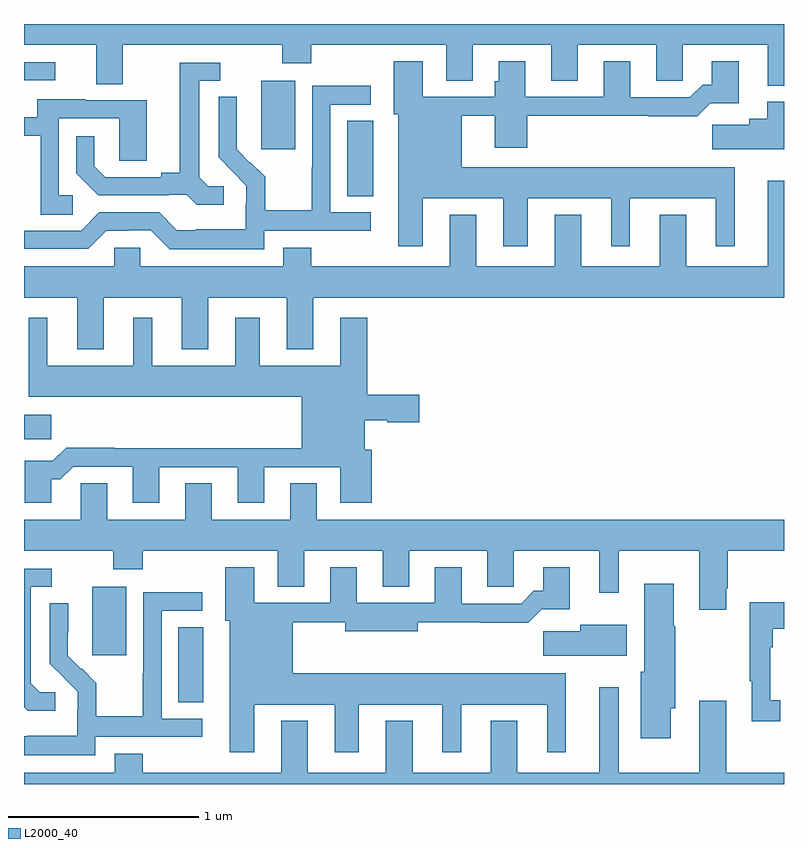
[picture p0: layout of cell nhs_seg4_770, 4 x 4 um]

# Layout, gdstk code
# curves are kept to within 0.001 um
import gdstk
lib = gdstk.Library(unit=1e-6, precision=1e-09)
def R(c, l, rs):  # rectangles x0, y0, x1, y1
    for r in rs: c.add(gdstk.rectangle(r[:2], r[2:], *l))
def P(c, l, *ps):  # polygons
    for p in ps: c.add(gdstk.Polygon(p, *l))
L2000_40 = (2000, 40)

nhs_seg4_770 = lib.new_cell('nhs_seg4_770')
R(nhs_seg4_770, L2000_40, [(149.813,821.329,149.944,821.726), (149.36,821.577,149.539,821.938), (149,822.715,149.143,822.844), (150.701,823.993,150.838,824.39), (150.248,824.241,150.427,824.602), (149,824.604,149.164,824.7)])
P(nhs_seg4_770, L2000_40, [(153,824.9),(149,824.9),(149,824.792),(149.381,824.792),(149.381,824.584),(149.521,824.584),(149.521,824.792),(150.358,824.792),(150.358,824.693),(150.513,824.693),(150.513,824.792),(151.223,824.792),(151.223,824.602),(151.363,824.602),(151.363,824.792),(151.775,824.792),(151.775,824.602),(151.915,824.602),(151.915,824.792),(152.327,824.792),(152.327,824.602),(152.466,824.602),(152.466,824.792),(152.915,824.792),(152.915,824.576),(153,824.576)],
  [(151.099,823.982),(151.523,823.982),(151.523,823.731),(151.651,823.731),(151.651,823.982),(152.09,823.982),(152.09,823.731),(152.188,823.731),(152.188,823.982),(152.642,823.982),(152.642,823.731),(152.74,823.731),(152.74,824.146),(151.303,824.146),(151.303,824.416),(151.478,824.416),(151.478,824.25),(151.649,824.25),(151.649,824.416),(152.287,824.416),(152.287,824.414),(152.543,824.414),(152.612,824.483),(152.761,824.483),(152.761,824.704),(152.621,824.704),(152.621,824.581),(152.572,824.581),(152.505,824.514),(152.191,824.514),(152.191,824.704),(152.051,824.704),(152.051,824.517),(151.639,824.517),(151.639,824.704),(151.499,824.704),(151.499,824.598),(151.478,824.598),(151.478,824.517),(151.099,824.517),(151.099,824.704),(150.947,824.704),(150.947,824.424),(150.971,824.424),(150.971,823.731),(151.099,823.731)],
  [(150.052,824.046),(149.97,824.046),(149.923,824.093),(149.923,824.601),(150.034,824.601),(150.034,824.697),(149.819,824.697),(149.819,824.117),(149.723,824.117),(149.723,824.094),(149.428,824.094),(149.371,824.151),(149.371,824.308),(149.274,824.308),(149.274,824.114),(149.39,823.998),(149.762,823.998),(149.762,824.001),(149.856,824.001),(149.908,823.949),(150.052,823.949)],
  [(150.264,823.812),(150.826,823.812),(150.826,823.908),(150.612,823.908),(150.612,824.475),(150.826,824.475),(150.826,824.574),(150.516,824.574),(150.516,824.144),(150.514,824.144),(150.514,823.921),(150.269,823.921),(150.269,824.095),(150.192,824.172),(150.189,824.169),(150.119,824.24),(150.12,824.516),(150.024,824.516),(150.024,824.198),(150.17,824.05),(150.17,823.953),(150.168,823.953),(150.168,823.819),(149.905,823.819),(149.905,823.815),(149.805,823.815),(149.712,823.908),(149.397,823.908),(149.301,823.812),(149,823.812),(149,823.716),(149.337,823.716),(149.433,823.812),(149.552,823.812),(149.552,823.815),(149.667,823.815),(149.767,823.715),(150.264,823.715)],
  [(149.257,823.998),(149.184,823.998),(149.184,824.403),(149.502,824.403),(149.502,824.179),(149.647,824.179),(149.647,824.499),(149.323,824.499),(149.323,824.503),(149.069,824.503),(149.069,824.409),(149,824.409),(149,824.313),(149.088,824.313),(149.088,823.897),(149.257,823.897)],
  [(153,824.491),(152.912,824.491),(152.912,824.401),(152.816,824.401),(152.816,824.369),(152.622,824.369),(152.622,824.24),(153,824.24)],
  [(149.419,823.46),(149.831,823.46),(149.831,823.187),(149.971,823.187),(149.971,823.46),(150.383,823.46),(150.383,823.187),(150.523,823.187),(150.523,823.46),(153,823.46),(153,824.074),(152.915,824.074),(152.915,823.624),(152.485,823.624),(152.485,823.897),(152.345,823.897),(152.345,823.624),(151.933,823.624),(151.933,823.897),(151.793,823.897),(151.793,823.624),(151.381,823.624),(151.381,823.897),(151.241,823.897),(151.241,823.624),(150.513,823.624),(150.513,823.723),(150.365,823.723),(150.365,823.624),(149.613,823.624),(149.613,823.722),(149.475,823.722),(149.475,823.624),(149,823.624),(149,823.46),(149.279,823.46),(149.279,823.187),(149.419,823.187)],
  [(149.143,822.503),(149.192,822.503),(149.259,822.57),(149.573,822.57),(149.573,822.381),(149.713,822.381),(149.713,822.567),(150.125,822.567),(150.125,822.381),(150.265,822.381),(150.265,822.567),(150.665,822.567),(150.665,822.381),(150.83,822.381),(150.83,822.66),(150.793,822.66),(150.793,822.815),(150.913,822.815),(150.913,822.803),(151.081,822.803),(151.081,822.95),(150.806,822.95),(150.806,823.354),(150.665,823.354),(150.665,823.102),(150.241,823.102),(150.241,823.354),(150.113,823.354),(150.113,823.102),(149.674,823.102),(149.674,823.354),(149.576,823.354),(149.576,823.102),(149.122,823.102),(149.122,823.354),(149.024,823.354),(149.024,822.938),(150.461,822.938),(150.461,822.668),(149.477,822.668),(149.477,822.671),(149.222,822.671),(149.152,822.601),(149.003,822.601),(149.003,822.381),(149.143,822.381)],
  [(152.695,821.929),(152.703,821.929),(152.703,822.128),(153,822.128),(153,822.292),(150.541,822.292),(150.541,822.482),(150.401,822.482),(150.401,822.292),(149.989,822.292),(149.989,822.482),(149.849,822.482),(149.849,822.292),(149.437,822.292),(149.437,822.482),(149.298,822.482),(149.298,822.292),(149,822.292),(149,822.128),(149.47,822.128),(149.47,822.029),(149.625,822.029),(149.625,822.128),(150.335,822.128),(150.335,821.938),(150.475,821.938),(150.475,822.128),(150.887,822.128),(150.887,821.939),(151.027,821.939),(151.027,822.128),(151.439,822.128),(151.439,821.938),(151.578,821.938),(151.578,822.128),(152.027,822.128),(152.027,821.907),(152.131,821.907),(152.131,822.128),(152.555,822.128),(152.555,821.817),(152.695,821.817)],
  [(150.211,821.318),(150.635,821.318),(150.635,821.067),(150.763,821.067),(150.763,821.318),(151.202,821.318),(151.202,821.067),(151.3,821.067),(151.3,821.318),(151.754,821.318),(151.754,821.067),(151.852,821.067),(151.852,821.482),(150.415,821.482),(150.415,821.752),(150.692,821.752),(150.692,821.705),(151.072,821.705),(151.072,821.752),(151.399,821.752),(151.399,821.75),(151.655,821.75),(151.724,821.819),(151.873,821.819),(151.873,822.04),(151.733,822.04),(151.733,821.917),(151.684,821.917),(151.617,821.85),(151.303,821.85),(151.303,822.04),(151.163,822.04),(151.163,821.853),(150.751,821.854),(150.751,822.04),(150.611,822.04),(150.611,821.853),(150.211,821.853),(150.211,822.04),(150.059,822.04),(150.059,821.76),(150.083,821.76),(150.083,821.067),(150.211,821.067)],
  [(149.164,821.382),(149.082,821.382),(149.035,821.429),(149.035,821.937),(149.146,821.937),(149.146,822.033),(149,822.033),(149,821.305),(149.02,821.285),(149.164,821.285)],
  [(152.404,821.298),(152.427,821.298),(152.427,821.729),(152.419,821.729),(152.419,821.953),(152.264,821.953),(152.264,821.49),(152.246,821.49),(152.246,821.142),(152.404,821.142)],
  [(149.376,821.148),(149.938,821.148),(149.938,821.244),(149.724,821.244),(149.724,821.811),(149.938,821.811),(149.938,821.91),(149.628,821.91),(149.628,821.48),(149.626,821.48),(149.626,821.257),(149.381,821.257),(149.381,821.431),(149.304,821.508),(149.301,821.505),(149.231,821.576),(149.232,821.852),(149.136,821.852),(149.136,821.534),(149.282,821.386),(149.282,821.289),(149.28,821.289),(149.28,821.155),(149.017,821.155),(149.017,821.151),(149,821.151),(149,821.051),(149.376,821.051)],
  [(152.98,821.342),(152.928,821.342),(152.928,821.621),(152.941,821.621),(152.941,821.717),(153,821.717),(153,821.857),(152.82,821.857),(152.82,821.441),(152.831,821.441),(152.831,821.229),(152.98,821.229)],
  [(152.173,821.737),(151.928,821.737),(151.928,821.705),(151.734,821.705),(151.734,821.576),(152.173,821.576)],
  [(153,820.96),(152.695,820.96),(152.695,821.338),(152.555,821.338),(152.555,820.96),(152.131,820.96),(152.131,821.41),(152.027,821.41),(152.027,820.96),(151.597,820.96),(151.597,821.233),(151.457,821.233),(151.457,820.96),(151.045,820.96),(151.045,821.233),(150.905,821.233),(150.905,820.96),(150.493,820.96),(150.493,821.233),(150.353,821.233),(150.353,820.96),(149.625,820.96),(149.625,821.059),(149.477,821.059),(149.477,820.96),(149,820.96),(149,820.9),(153,820.9)])

lib.write_gds('nhs_seg4_770.gds')
